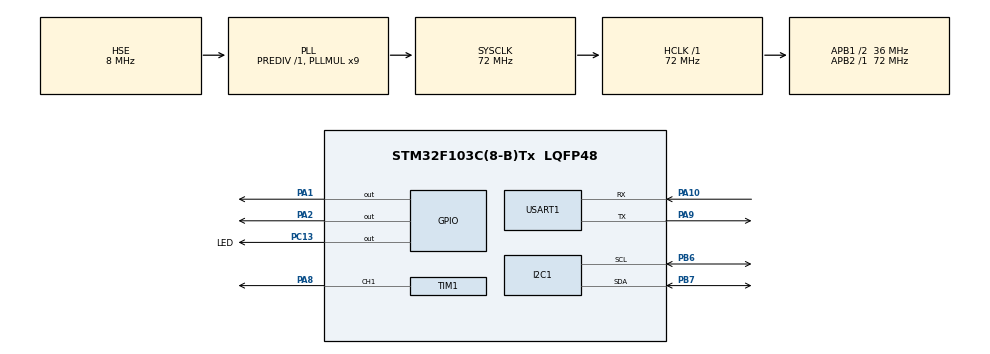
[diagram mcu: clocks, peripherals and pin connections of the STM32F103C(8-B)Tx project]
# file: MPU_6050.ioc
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Mcu.Family=STM32F1
Mcu.Name=STM32F103C(8-B)Tx
Mcu.Package=LQFP48
NVIC.PriorityGroup=NVIC_PRIORITYGROUP_4
NVIC.USART1_IRQn=true\:0\:0\:false\:false\:true\:true\:true\:true
PA1.Signal=GPIO_Output
PA10.Mode=Asynchronous
PA10.Signal=USART1_RX
PA13.Mode=Serial_Wire
PA13.Signal=SYS_JTMS-SWDIO
PA14.Mode=Serial_Wire
PA14.Signal=SYS_JTCK-SWCLK
PA2.Signal=GPIO_Output
PA8.Signal=S_TIM1_CH1
PA9.Mode=Asynchronous
PA9.Signal=USART1_TX
PB6.Mode=I2C
PB6.Signal=I2C1_SCL
PB7.Mode=I2C
PB7.Signal=I2C1_SDA
PC13-TAMPER-RTC.GPIO_Label=LED
PC13-TAMPER-RTC.Signal=GPIO_Output
PD0-OSC_IN.Mode=HSE-External-Oscillator
PD0-OSC_IN.Signal=RCC_OSC_IN
PD1-OSC_OUT.Mode=HSE-External-Oscillator
PD1-OSC_OUT.Signal=RCC_OSC_OUT
ProjectManager.HeapSize=0x200
ProjectManager.StackSize=0x400
ProjectManager.TargetToolchain=CMake
RCC.AHBFreq_Value=72000000
RCC.APB1CLKDivider=RCC_HCLK_DIV2
RCC.APB1Freq_Value=36000000
RCC.APB1TimFreq_Value=72000000
RCC.APB2Freq_Value=72000000
RCC.APB2TimFreq_Value=72000000
RCC.HCLKFreq_Value=72000000
RCC.PLLMUL=RCC_PLL_MUL9
RCC.PLLSourceVirtual=RCC_PLLSOURCE_HSE
RCC.SYSCLKFreq_VALUE=72000000
RCC.SYSCLKSource=RCC_SYSCLKSOURCE_PLLCLK
RCC.USBFreq_Value=72000000
SH.S_TIM1_CH1.0=TIM1_CH1,PWM Generation1 CH1
TIM1.Channel-PWM\ Generation1\ CH1=TIM_CHANNEL_1
TIM1.Period=999
TIM1.Prescaler=71
USART1.VirtualMode=VM_ASYNC
VP_TIM1_VS_ClockSourceINT.Mode=Internal
board=custom

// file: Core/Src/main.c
/* USER CODE BEGIN Header */
/**
  ******************************************************************************
  * @file           : main.c
  * @brief          : Main program body
  ******************************************************************************
  * @attention
  *
  * Copyright (c) 2026 STMicroelectronics.
  * All rights reserved.
  *
  * This software is licensed under terms that can be found in the LICENSE file
  * in the root directory of this software component.
  * If no LICENSE file comes with this software, it is provided AS-IS.
  *
  ******************************************************************************
  */
/* USER CODE END Header */
#include "main.h"
#include "i2c.h"
#include "tim.h"
#include "usart.h"
#include "gpio.h"

/* USER CODE BEGIN Includes */
#include "mpu6050.h"
#include "stdio.h"
#include "string.h"
#include <stdlib.h>
#include "motor.h"
#include "NanoEdgeAI.h"
/* USER CODE END Includes */

/* Number of samples for learning: set by user ---------------------------------*/
#define LEARNING_ITERATIONS 400
float input_user_buffer[DATA_INPUT_USER * AXIS_NUMBER]; // Buffer of input values

/* USER CODE BEGIN PD */
#define MSG_BUFFER_SIZE 100
#define DUTY_CYCLE 500        // 中心占空比 (50%)
#define HANDSHAKE_TIMEOUT 5000  // 5秒握手超时
/* USER CODE END PD */

/* USER CODE BEGIN PV */
MPU6050_t mpu6050;
char msg[MSG_BUFFER_SIZE];
int num = 1;
uint8_t similarity = 0;

// 握手相关变量
uint8_t handshake_received = 0;
uint32_t handshake_start_time = 0;
/* USER CODE END PV */

void SystemClock_Config(void);
void ProcessReceivedData(void);

/* USER CODE BEGIN 0 */
void fill_buffer(float input_buffer[]) {
  MPU6050_Read_All(&hi2c1, &mpu6050);
  // 缩放系数：16384 = 2^14（±2g模式）
  input_buffer[0] = (float)mpu6050.Accel_X_RAW / 16384.0f;
  input_buffer[1] = (float)mpu6050.Accel_Y_RAW / 16384.0f;
  input_buffer[2] = (float)mpu6050.Accel_Z_RAW / 16384.0f;
}

// UART接收缓冲区和相关变量
uint8_t uart_rx_data;
uint8_t rx_buffer[256];
uint16_t rx_index = 0;

// UART接收完成回调函数
void HAL_UART_RxCpltCallback(UART_HandleTypeDef *huart) {
    if (huart->Instance == USART1) {
        // 将接收到的数据添加到缓冲区
        if (uart_rx_data == '\n' || uart_rx_data == '\r') {
            // 结束当前命令
            rx_buffer[rx_index] = '\0';

            // 检查是否是握手命令
            if (strcmp((char*)rx_buffer, "hello") == 0 ||
                strcmp((char*)rx_buffer, "hello\n") == 0 ||
                strcmp((char*)rx_buffer, "ping") == 0 ||
                strcmp((char*)rx_buffer, "ping\n") == 0 ||
                strcmp((char*)rx_buffer, "test") == 0 ||
                strcmp((char*)rx_buffer, "test\n") == 0) {

                // 发送确认响应
                char ack_msg[] = "ack\r\n";
                HAL_UART_Transmit(&huart1, (uint8_t*)ack_msg, strlen(ack_msg), HAL_MAX_DELAY);
            }

            // 重置缓冲区
            rx_index = 0;
        } else {
            // 添加到缓冲区（检查溢出）
            if (rx_index < sizeof(rx_buffer) - 1) {
                rx_buffer[rx_index++] = uart_rx_data;
            } else {
                // 缓冲区满，重置
                rx_index = 0;
            }
        }

        // 继续接收下一个字节
        HAL_UART_Receive_IT(&huart1, &uart_rx_data, 1);
    }
}
/* USER CODE END 0 */

int main(void)
{

  /* MCU Configuration--------------------------------------------------------*/

  /* Reset of all peripherals, Initializes the Flash interface and the Systick. */
  HAL_Init();

  /* Configure the system clock */
  SystemClock_Config();

  /* Initialize all configured peripherals */
  MX_GPIO_Init();
  MX_I2C1_Init();
  MX_USART1_UART_Init();
  MX_TIM1_Init();

  // 启动UART接收中断
  HAL_UART_Receive_IT(&huart1, &uart_rx_data, 1);

  HAL_UART_Transmit(&huart1, (uint8_t*)"MPU6050 Init...\r\n", 18, HAL_MAX_DELAY);
  if (MPU6050_Init(&hi2c1) != HAL_OK) {
    while (1) { HAL_GPIO_TogglePin(LED_GPIO_Port, LED_Pin); HAL_Delay(500); }
  }
  HAL_UART_Transmit(&huart1, (uint8_t*)"MPU6050 OK!\r\n", 14, HAL_MAX_DELAY);

  // NanoEdge AI初始化和学习
  HAL_UART_Transmit(&huart1, (uint8_t*)"NanoEdge AI Init...\r\n", 21, HAL_MAX_DELAY);
  if (neai_anomalydetection_init() != NEAI_OK) {
    HAL_UART_Transmit(&huart1, (uint8_t*)"AI Init Failed!\r\n", 18, HAL_MAX_DELAY);
    while(1);
  }

  HAL_TIM_PWM_Start(&htim1, TIM_CHANNEL_1); // 启动PWM输出
  /* USER CODE BEGIN 2 */

  // 启动 PWM
  HAL_TIM_PWM_Start(&htim1, TIM_CHANNEL_1);

  // 初始化电机方向和占空比
  Motor_Forward(DUTY_CYCLE);  // 正转，50% 占空比

  // 学习
  HAL_UART_Transmit(&huart1, (uint8_t*)"Learning...\r\n", 13, HAL_MAX_DELAY);
  for (uint16_t i = 0; i < 400; i++) {  // 400次学习
    fill_buffer(input_user_buffer);
    neai_anomalydetection_learn(input_user_buffer);
    if (i % 50 == 0) {
      char progress[32];
      sprintf(progress, "Learning: %d/400\r\n", i);
      HAL_UART_Transmit(&huart1, (uint8_t*)progress, strlen(progress), HAL_MAX_DELAY);
    }
  }
  HAL_UART_Transmit(&huart1, (uint8_t*)"Learning Done!\r\n", 16, HAL_MAX_DELAY);  // 学习完成

  // 发送初始握手确认
  HAL_UART_Transmit(&huart1, (uint8_t*)"ack\r\n", 5, HAL_MAX_DELAY);

  // 等待握手完成（最多等待5秒）
  uint32_t start_time = HAL_GetTick();
  while (!handshake_received && (HAL_GetTick() - start_time < HANDSHAKE_TIMEOUT)) {
    // 在这里可以继续其他处理
    HAL_Delay(10);
  }

  /* USER CODE END 2 */

  /* Infinite loop */
  /* USER CODE BEGIN WHILE */
  while (1) {
    // 读取数据并转换
    fill_buffer(input_user_buffer);

    // 识别异常
    neai_anomalydetection_detect(input_user_buffer, &similarity);

    // 根据相似度控制电机
    if (similarity > 70) {
      Motor_Forward(DUTY_CYCLE);
    } else {
      Motor_Stop(); // 异常状态
    }

    // 格式化加速度数据，便于Python解析（使用空格分隔）
    int x = (int)((float)mpu6050.Accel_X_RAW / 16384.0f * 1000); // 乘以1000
    int y = (int)((float)mpu6050.Accel_Y_RAW / 16384.0f * 1000);
    int z = (int)((float)mpu6050.Accel_Z_RAW / 16384.0f * 1000);

    // 处理负数
    int x_int = x / 1000;
    int x_frac = x % 1000;
    if (x_frac < 0) { x_frac += 1000; x_int--; }

    int y_int = y / 1000;
    int y_frac = y % 1000;
    if (y_frac < 0) { y_frac += 1000; y_int--; }

    int z_int = z / 1000;
    int z_frac = z % 1000;
    if (z_frac < 0) { z_frac += 1000; z_int--; }

    // 格式化数据为Python data_loader.py能解析的格式
    // 使用空格分隔，以换行结尾
    int len = snprintf(msg, MSG_BUFFER_SIZE, "%d.%03d %d.%03d %d.%03d\r\n",
                     x_int, abs(x_frac),
                     y_int, abs(y_frac),
                     z_int, abs(z_frac));

    if(len >= MSG_BUFFER_SIZE || len < 0) { // 检查是否有截断或错误发生
      // 处理错误情况
      continue;
    }

    HAL_UART_Transmit(&huart1, (uint8_t*)msg, len, HAL_MAX_DELAY);
    HAL_Delay(100); // 发送间隔

    // 处理接收的数据（握手命令等）
    HAL_Delay(1); // 小延时以允许中断处理
  }
  /* USER CODE END WHILE */
}

void SystemClock_Config(void)
{
  RCC_OscInitTypeDef RCC_OscInitStruct = {0};
  RCC_ClkInitTypeDef RCC_ClkInitStruct = {0};

  /** Initializes the RCC Oscillators according to the specified parameters
  * in the RCC_OscInitTypeDef structure.
  */
  RCC_OscInitStruct.OscillatorType = RCC_OSCILLATORTYPE_HSE;
  RCC_OscInitStruct.HSEState = RCC_HSE_ON;
  RCC_OscInitStruct.HSEPredivValue = RCC_HSE_PREDIV_DIV1;
  RCC_OscInitStruct.HSIState = RCC_HSI_ON;
  RCC_OscInitStruct.PLL.PLLState = RCC_PLL_ON;
  RCC_OscInitStruct.PLL.PLLSource = RCC_PLLSOURCE_HSE;
  RCC_OscInitStruct.PLL.PLLMUL = RCC_PLL_MUL9;
  if (HAL_RCC_OscConfig(&RCC_OscInitStruct) != HAL_OK)
  {
    Error_Handler();
  }

  /** Initializes the CPU, AHB and APB buses clocks
  */
  RCC_ClkInitStruct.ClockType = RCC_CLOCKTYPE_HCLK|RCC_CLOCKTYPE_SYSCLK
                              |RCC_CLOCKTYPE_PCLK1|RCC_CLOCKTYPE_PCLK2;
  RCC_ClkInitStruct.SYSCLKSource = RCC_SYSCLKSOURCE_PLLCLK;
  RCC_ClkInitStruct.AHBCLKDivider = RCC_SYSCLK_DIV1;
  RCC_ClkInitStruct.APB1CLKDivider = RCC_HCLK_DIV2;
  RCC_ClkInitStruct.APB2CLKDivider = RCC_HCLK_DIV1;

  if (HAL_RCC_ClockConfig(&RCC_ClkInitStruct, FLASH_LATENCY_2) != HAL_OK)
  {
    Error_Handler();
  }
}

void Error_Handler(void)
{
  __disable_irq();
  while (1)
  {
  }
}
